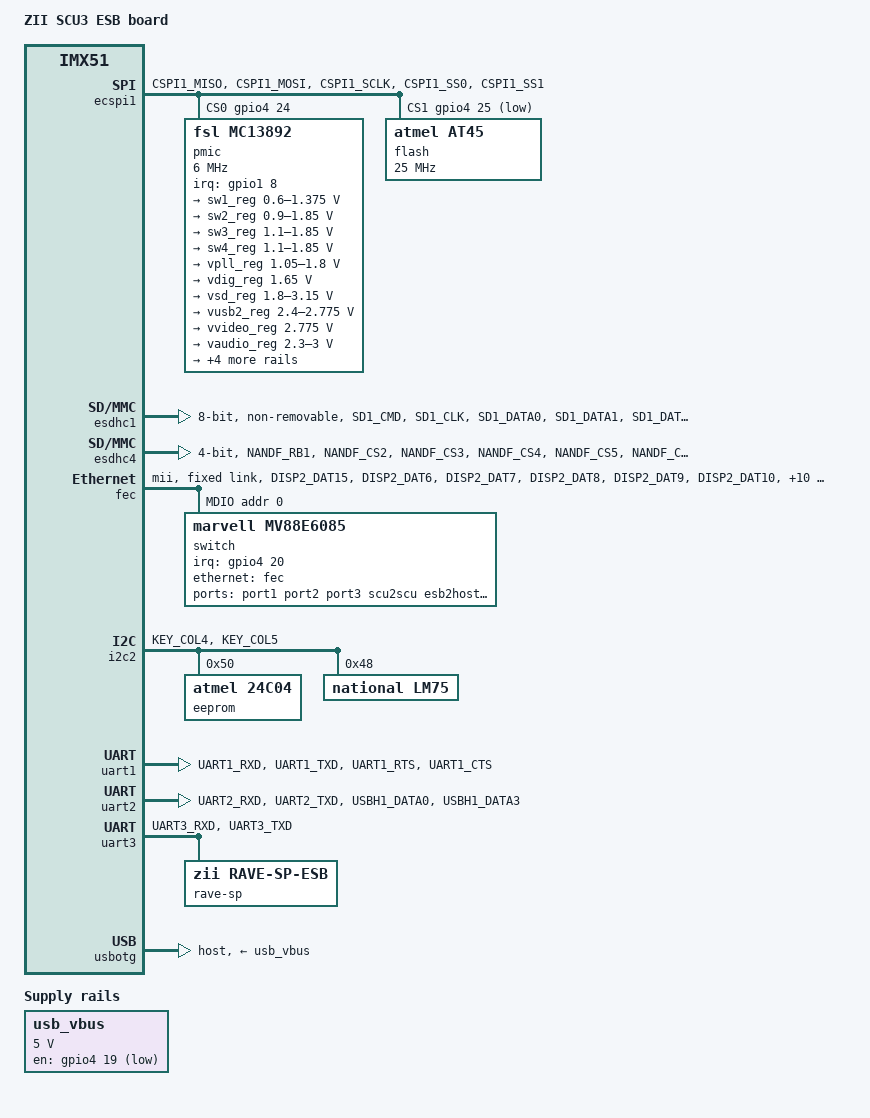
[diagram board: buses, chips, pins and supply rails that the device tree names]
// SPDX-License-Identifier: (GPL-2.0 OR MIT)

/*
 * Copyright (C) 2018 Zodiac Inflight Innovations
 */

/dts-v1/;

#include "imx51.dtsi"

/ {
	model = "ZII SCU3 ESB board";
	compatible = "zii,imx51-scu3-esb", "fsl,imx51";

	chosen {
		stdout-path = &uart1;
	};

	/* Will be filled by the bootloader */
	memory@90000000 {
		device_type = "memory";
		reg = <0x90000000 0>;
	};

	usb_vbus: regulator-usb-vbus {
		compatible = "regulator-fixed";
		regulator-name = "usb_vbus";
		regulator-min-microvolt = <5000000>;
		regulator-max-microvolt = <5000000>;

		pinctrl-names = "default";
		pinctrl-0 = <&pinctrl_usb_mmc_reset>;
		gpio = <&gpio4 19 GPIO_ACTIVE_LOW>;
		startup-delay-us = <150000>;
	};
};

&cpu {
	cpu-supply = <&sw1_reg>;
};

&ecspi1 {
	pinctrl-names = "default";
	pinctrl-0 = <&pinctrl_ecspi1>;
	cs-gpios = <&gpio4 24 GPIO_ACTIVE_HIGH>,
		   <&gpio4 25 GPIO_ACTIVE_LOW>;
	status = "okay";

	pmic@0 {
		compatible = "fsl,mc13892";
		pinctrl-names = "default";
		pinctrl-0 = <&pinctrl_pmic>;
		spi-max-frequency = <6000000>;
		spi-cs-high;
		reg = <0>;
		interrupt-parent = <&gpio1>;
		interrupts = <8 IRQ_TYPE_LEVEL_HIGH>;
		fsl,mc13xxx-uses-adc;

		regulators {
			sw1_reg: sw1 {
				regulator-min-microvolt = <600000>;
				regulator-max-microvolt = <1375000>;
				regulator-boot-on;
				regulator-always-on;
			};

			sw2_reg: sw2 {
				regulator-min-microvolt = <900000>;
				regulator-max-microvolt = <1850000>;
				regulator-boot-on;
				regulator-always-on;
			};

			sw3_reg: sw3 {
				regulator-min-microvolt = <1100000>;
				regulator-max-microvolt = <1850000>;
				regulator-boot-on;
				regulator-always-on;
			};

			sw4_reg: sw4 {
				regulator-min-microvolt = <1100000>;
				regulator-max-microvolt = <1850000>;
				regulator-boot-on;
				regulator-always-on;
			};

			vpll_reg: vpll {
				regulator-min-microvolt = <1050000>;
				regulator-max-microvolt = <1800000>;
				regulator-boot-on;
				regulator-always-on;
			};

			vdig_reg: vdig {
				regulator-min-microvolt = <1650000>;
				regulator-max-microvolt = <1650000>;
				regulator-boot-on;
			};

			vsd_reg: vsd {
				regulator-min-microvolt = <1800000>;
				regulator-max-microvolt = <3150000>;
			};

			vusb_reg: vusb {
				regulator-always-on;
			};

			vusb2_reg: vusb2 {
				regulator-min-microvolt = <2400000>;
				regulator-max-microvolt = <2775000>;
				regulator-boot-on;
				regulator-always-on;
			};

			vvideo_reg: vvideo {
				regulator-min-microvolt = <2775000>;
				regulator-max-microvolt = <2775000>;
			};

			vaudio_reg: vaudio {
				regulator-min-microvolt = <2300000>;
				regulator-max-microvolt = <3000000>;
			};

			vcam_reg: vcam {
				regulator-min-microvolt = <2500000>;
				regulator-max-microvolt = <3000000>;
			};

			vgen1_reg: vgen1 {
				regulator-min-microvolt = <1200000>;
				regulator-max-microvolt = <1200000>;
			};

			vgen2_reg: vgen2 {
				regulator-min-microvolt = <1200000>;
				regulator-max-microvolt = <3150000>;
				regulator-always-on;
			};

			vgen3_reg: vgen3 {
				regulator-min-microvolt = <1800000>;
				regulator-max-microvolt = <2900000>;
				regulator-always-on;
			};
		};

		leds {
			#address-cells = <1>;
			#size-cells = <0>;
			led-control = <0x0 0x0 0x3f83f8 0x0>;

			sysled3: led3@3 {
				reg = <3>;
				label = "system:red:power";
				linux,default-trigger = "default-on";
			};

			sysled4: led4@4 {
				reg = <4>;
				label = "system:green:act";
				linux,default-trigger = "heartbeat";
			};
		};
	};

	flash@1 {
		#address-cells = <1>;
		#size-cells = <1>;
		compatible = "atmel,at45", "atmel,dataflash";
		spi-max-frequency = <25000000>;
		reg = <1>;
	};
};

&esdhc1 {
	pinctrl-names = "default";
	pinctrl-0 = <&pinctrl_esdhc1>;
	bus-width = <8>;
	non-removable;
	no-1-8-v;
	no-sdio;
	no-sd;
	status = "okay";
};

&esdhc4 {
	pinctrl-names = "default";
	pinctrl-0 = <&pinctrl_esdhc4>;
	bus-width = <4>;
	no-1-8-v;
	no-sdio;
	cd-gpios = <&gpio4 8 GPIO_ACTIVE_LOW>;
	status = "okay";
};

&fec {
	pinctrl-names = "default";
	pinctrl-0 = <&pinctrl_fec>;
	phy-mode = "mii";
	status = "okay";

	fixed-link {
		speed = <100>;
		full-duplex;
	};

	fec_mdio: mdio {
		#address-cells = <1>;
		#size-cells = <0>;
		status = "okay";

		switch@0 {
			compatible = "marvell,mv88e6085";
			reg = <0>;
			dsa,member = <0 0>;
			eeprom-length = <512>;
			interrupt-parent = <&gpio4>;
			interrupts = <20 IRQ_TYPE_LEVEL_HIGH>;
			interrupt-controller;
			#interrupt-cells = <2>;
			pinctrl-names = "default";
			pinctrl-0 = <&pinctrl_switch>;

			ports {
				#address-cells = <1>;
				#size-cells = <0>;

				port@0 {
					reg = <0>;
					label = "port1";
				};

				port@1 {
					reg = <1>;
					label = "port2";
				};

				port@2 {
					reg = <2>;
					label = "port3";
				};

				port@3 {
					reg = <3>;
					label = "scu2scu";
				};

				port@4 {
					reg = <4>;
					label = "esb2host";
				};

				port@5 {
					reg = <5>;
					label = "esb2mezz";
					phy-mode = "sgmii";

					fixed-link {
						speed = <1000>;
						full-duplex;
					};
				};

				port@6 {
					reg = <6>;
					label = "cpu";
					phy-mode = "mii";
					ethernet = <&fec>;

					fixed-link {
						speed = <100>;
						full-duplex;
					};
				};
			};
		};
	};
};

&ipu {
	status = "disabled";
};

&i2c2 {
	pinctrl-names = "default";
	pinctrl-0 = <&pinctrl_i2c2>;
	status = "okay";

	eeprom@50 {
		compatible = "atmel,24c04";
		pagesize = <16>;
		reg = <0x50>;
	};

	lm75@48 {
		compatible = "national,lm75";
		reg = <0x48>;
	};
};

&uart1 {
	pinctrl-names = "default";
	pinctrl-0 = <&pinctrl_uart1>;
	status = "okay";
};

&uart2 {
	pinctrl-names = "default";
	pinctrl-0 = <&pinctrl_uart2>;
	status = "okay";
};

&uart3 {
	pinctrl-names = "default";
	pinctrl-0 = <&pinctrl_uart3>;
	status = "okay";

	rave-sp {
		compatible = "zii,rave-sp-esb";
		current-speed = <57600>;
		#address-cells = <1>;
		#size-cells = <1>;

		watchdog {
			compatible = "zii,rave-sp-watchdog-legacy";
		};

		eeprom@a4 {
			compatible = "zii,rave-sp-eeprom";
			reg = <0xa4 0x4000>;
			#address-cells = <1>;
			#size-cells = <1>;
			zii,eeprom-name = "main-eeprom";
		};
	};
};

&usbotg {
	dr_mode = "host";
	disable-over-current;
	phy_type = "utmi_wide";
	vbus-supply = <&usb_vbus>;
	status = "okay";
};

&usbphy0 {
	vcc-supply = <&vusb2_reg>;
};

&vpu {
	status = "disabled";
};

&wdog1 {
	status = "disabled";
};

&iomuxc {
	pinctrl_ecspi1: ecspi1grp {
		fsl,pins = <
			MX51_PAD_CSPI1_MISO__ECSPI1_MISO	0x185
			MX51_PAD_CSPI1_MOSI__ECSPI1_MOSI	0x185
			MX51_PAD_CSPI1_SCLK__ECSPI1_SCLK	0x185
			MX51_PAD_CSPI1_SS0__GPIO4_24		0x85
			MX51_PAD_CSPI1_SS1__GPIO4_25		0x85
		>;
	};

	pinctrl_esdhc1: esdhc1grp {
		fsl,pins = <
			MX51_PAD_SD1_CMD__SD1_CMD		0x400020d5
			MX51_PAD_SD1_CLK__SD1_CLK		0x20d5
			MX51_PAD_SD1_DATA0__SD1_DATA0		0x20d5
			MX51_PAD_SD1_DATA1__SD1_DATA1		0x20d5
			MX51_PAD_SD1_DATA2__SD1_DATA2		0x20d5
			MX51_PAD_SD1_DATA3__SD1_DATA3		0x20d5
			MX51_PAD_SD2_DATA0__SD1_DAT4		0x20d5
			MX51_PAD_SD2_DATA1__SD1_DAT5		0x20d5
			MX51_PAD_SD2_DATA2__SD1_DAT6		0x20d5
			MX51_PAD_SD2_DATA3__SD1_DAT7		0x20d5
		>;
	};

	pinctrl_esdhc4: esdhc4grp {
		fsl,pins = <
			MX51_PAD_NANDF_RB1__SD4_CMD		0x400020d5
			MX51_PAD_NANDF_CS2__SD4_CLK		0x20d5
			MX51_PAD_NANDF_CS3__SD4_DAT0		0x20d5
			MX51_PAD_NANDF_CS4__SD4_DAT1		0x20d5
			MX51_PAD_NANDF_CS5__SD4_DAT2		0x20d5
			MX51_PAD_NANDF_CS6__SD4_DAT3		0x20d5
			MX51_PAD_NANDF_D0__GPIO4_8		0x100
		>;
	};

	pinctrl_fec: fecgrp {
		fsl,pins = <
			MX51_PAD_DISP2_DAT15__FEC_TDATA0	0x2004
			MX51_PAD_DISP2_DAT6__FEC_TDATA1		0x2004
			MX51_PAD_DISP2_DAT7__FEC_TDATA2		0x2004
			MX51_PAD_DISP2_DAT8__FEC_TDATA3		0x2004
			MX51_PAD_DISP2_DAT9__FEC_TX_EN		0x2004
			MX51_PAD_DISP2_DAT10__FEC_COL		0x0180
			MX51_PAD_DISP2_DAT11__FEC_RX_CLK	0x0180
			MX51_PAD_DISP2_DAT12__FEC_RX_DV		0x20a4

			MX51_PAD_DISP2_DAT13__FEC_TX_CLK	0x2180
			MX51_PAD_DISP2_DAT14__FEC_RDATA0	0x2180
			MX51_PAD_DI2_DISP_CLK__FEC_RDATA1	0x0085
			MX51_PAD_DI_GP4__FEC_RDATA2		0x0085
			MX51_PAD_DISP2_DAT0__FEC_RDATA3		0x0085
			MX51_PAD_DI2_PIN2__FEC_MDC		0x2004
			MX51_PAD_DI2_PIN3__FEC_MDIO		0x01f5
			MX51_PAD_DI2_PIN4__FEC_CRS		0x0180
		>;
	};

	pinctrl_i2c2: i2c2grp {
		fsl,pins = <
			MX51_PAD_KEY_COL4__I2C2_SCL		0x400001ed
			MX51_PAD_KEY_COL5__I2C2_SDA		0x400001ed
		>;
	};

	pinctrl_pmic: pmicgrp {
		fsl,pins = <
			MX51_PAD_GPIO1_4__GPIO1_4		0x85
			MX51_PAD_GPIO1_8__GPIO1_8		0xe5
		>;
	};

	pinctrl_switch: switchgrp {
		fsl,pins = <
			MX51_PAD_AUD3_BB_CK__GPIO4_20		0xc5
		>;
	};

	pinctrl_uart1: uart1grp {
		fsl,pins = <
			MX51_PAD_UART1_RXD__UART1_RXD		0x1c5
			MX51_PAD_UART1_TXD__UART1_TXD		0x1c5
			MX51_PAD_UART1_RTS__UART1_RTS		0x1c5
			MX51_PAD_UART1_CTS__UART1_CTS		0x1c5
		>;
	};

	pinctrl_uart2: uart2grp {
		fsl,pins = <
			MX51_PAD_UART2_RXD__UART2_RXD		0x1c5
			MX51_PAD_UART2_TXD__UART2_TXD		0x1c5
			MX51_PAD_USBH1_DATA0__UART2_CTS		0x1c5
			MX51_PAD_USBH1_DATA3__UART2_RTS		0x1c5
		>;
	};

	pinctrl_uart3: uart3grp {
		fsl,pins = <
			MX51_PAD_UART3_RXD__UART3_RXD		0x1c5
			MX51_PAD_UART3_TXD__UART3_TXD		0x1c5
		>;
	};

	pinctrl_usb_mmc_reset: usbmmcgrp {
		fsl,pins = <
			MX51_PAD_AUD3_BB_RXD__GPIO4_19		0x100
		>;
	};
};
